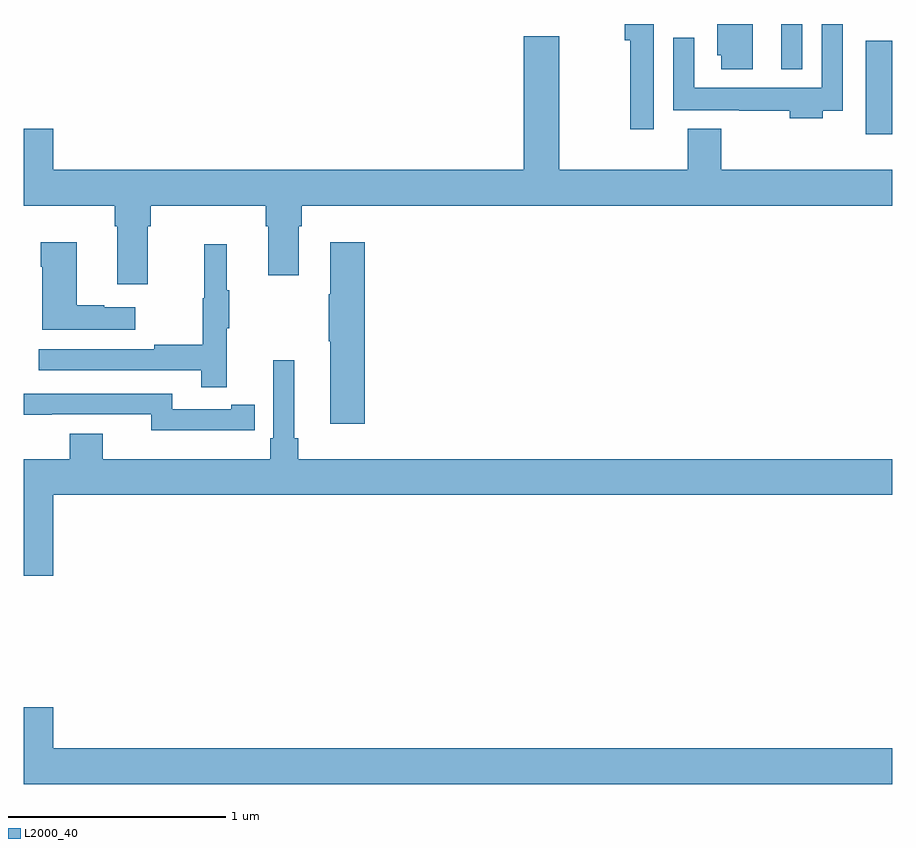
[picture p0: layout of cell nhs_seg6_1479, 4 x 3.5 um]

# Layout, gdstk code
import gdstk
lib = gdstk.Library(unit=1e-6, precision=1e-09)
def R(c, l, rs):  # rectangles x0, y0, x1, y1
    for r in rs: c.add(gdstk.rectangle(r[:2], r[2:], *l))
def P(c, l, *ps):  # polygons
    for p in ps: c.add(gdstk.Polygon(p, *l))
L2000_40 = (2000, 40)

nhs_seg6_1479 = lib.new_cell('nhs_seg6_1479')
R(nhs_seg6_1479, L2000_40, [(204.878,952.992,205,953.422), (204.488,953.291,204.585,953.5)])
P(nhs_seg6_1479, L2000_40, [(204.679,953.1),(204.771,953.1),(204.771,953.5),(204.675,953.5),(204.675,953.206),(204.087,953.206),(204.087,953.437),(203.991,953.437),(203.991,953.102),(204.295,953.102),(204.295,953.1),(204.527,953.1),(204.527,953.066),(204.679,953.066)],
  [(204.358,953.5),(204.194,953.5),(204.194,953.355),(204.212,953.355),(204.212,953.292),(204.358,953.292)],
  [(203.901,953.5),(203.768,953.5),(203.768,953.426),(203.793,953.426),(203.793,953.016),(203.901,953.016)],
  [(201.571,952.568),(201.584,952.568),(201.584,952.664),(202.115,952.664),(202.115,952.568),(202.127,952.568),(202.127,952.344),(202.267,952.344),(202.267,952.568),(202.28,952.568),(202.28,952.664),(205,952.664),(205,952.828),(204.212,952.828),(204.212,953.017),(204.059,953.017),(204.059,952.828),(203.467,952.828),(203.467,953.443),(203.303,953.443),(203.303,952.828),(201.136,952.828),(201.136,953.017),(201,953.017),(201,952.664),(201.419,952.664),(201.419,952.568),(201.431,952.568),(201.431,952.302),(201.571,952.302)],
  [(201.514,952.195),(201.371,952.195),(201.371,952.205),(201.244,952.205),(201.244,952.495),(201.079,952.495),(201.079,952.382),(201.086,952.382),(201.086,952.091),(201.514,952.091)],
  [(202.571,952.495),(202.412,952.495),(202.412,952.256),(202.405,952.256),(202.405,952.039),(202.412,952.039),(202.412,951.66),(202.571,951.66)],
  [(201.935,952.099),(201.946,952.099),(201.946,952.273),(201.935,952.273),(201.935,952.486),(201.832,952.486),(201.832,952.236),(201.825,952.236),(201.825,952.022),(201.601,952.022),(201.601,952.002),(201.069,952.002),(201.069,951.906),(201.817,951.906),(201.817,951.828),(201.935,951.828)],
  [(201.136,951.332),(205,951.332),(205,951.496),(202.265,951.496),(202.265,951.592),(202.246,951.592),(202.246,951.952),(202.149,951.952),(202.149,951.592),(202.136,951.592),(202.136,951.496),(201.364,951.496),(201.364,951.613),(201.212,951.613),(201.212,951.496),(201,951.496),(201,950.958),(201.136,950.958)],
  [(201.956,951.63),(202.064,951.63),(202.064,951.746),(201.956,951.746),(201.956,951.726),(201.684,951.726),(201.684,951.798),(201,951.798),(201,951.701),(201.128,951.701),(201.128,951.702),(201.588,951.702),(201.588,951.629),(201.956,951.629)],
  [(205,950.164),(201.136,950.164),(201.136,950.353),(201,950.353),(201,950),(205,950)])

lib.write_gds('nhs_seg6_1479.gds')
